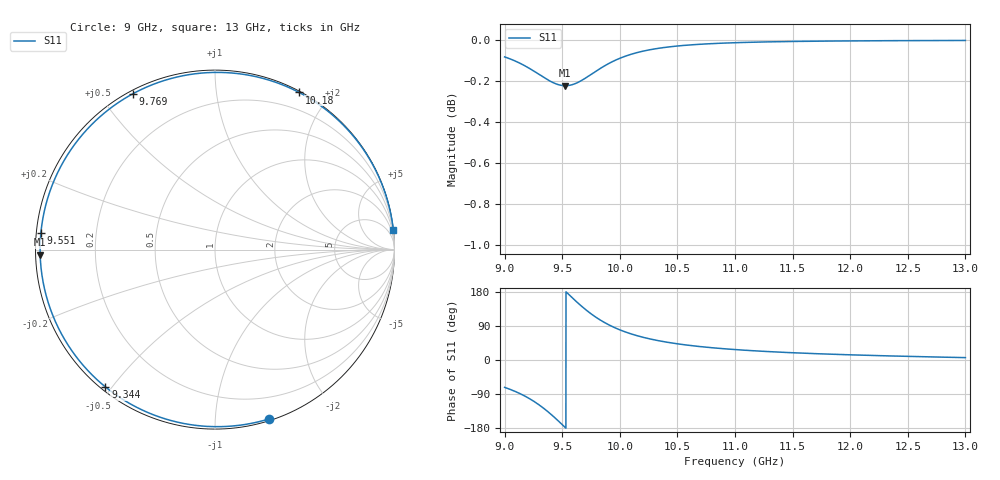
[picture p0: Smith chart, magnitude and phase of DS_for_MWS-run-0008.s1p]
! TOUCHSTONE file generated by CST DESIGN STUDIO
! Date and time: Wed Feb  5 13:29:01 2025
! Project name: C:\Work\MatlabApps\UnitCellOptimizationMatlab\CST\unitcell.cst
! Tree item: Tasks\Sweep1\SPara1\S-Parameters
! Header version: 2024
! Port assignment regex: !\s*Touchstone port\s*([0-9]+)\s*=\s*(CST MWS port|CST DES external port|CST DES block port)\s*(.+)\s* \(\"(.*)\"\)(\s*mode\s*([0-9]+))?.*
! Touchstone port assignment:
! Touchstone port 1 = CST DES external port 1 ("")
# GHz S MA R 50
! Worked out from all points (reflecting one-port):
!   4001 points, 9 GHz to 13 GHz, reference 50 ohm
!   lowest |S11| = -0.2 dB at 9.527 GHz (marker M1), VSWR 77.37, Z = 0.646 - j0.729 ohm
!   phase of S11 starts at -72 deg and turns -282 deg over the sweep
!   S11 on the Smith chart (normalised r, x): 9 GHz: 0.01, -1.37; 9.344 GHz: 0.01, -0.48; 9.551 GHz: 0.01, +0.05; 9.769 GHz: 0.01, +0.60; 10.18 GHz: 0.01, +1.67; 13 GHz: 0, +18
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9  0.9903 -72.2
9.095  0.988 -83.4
9.202  0.9845 -99.6
9.276  0.9816 -113.5
9.344  0.9789 -128.6
9.417  0.9763 -147.1
9.46  0.9752 -159.0
9.5  0.9746 -170.5
9.527  0.9745 -178.3
9.551  0.9746 174.7
9.605  0.9754 159.1
9.666  0.9773 142.5
9.717  0.9792 129.7
9.769  0.9814 117.8
9.818  0.9834 107.8
9.871  0.9855 98.3
9.93  0.9875 89.0
10  0.9895 79.6
10.085  0.9915 70.2
10.178  0.9932 61.8
10.325  0.995 51.6
10.5  0.9964 42.7
10.721  0.9974 34.7
11  0.9982 27.5
11.5  0.9989 19.1
12  0.9992 13.7
12.5  0.9994 9.6
13  0.9995 6.3
